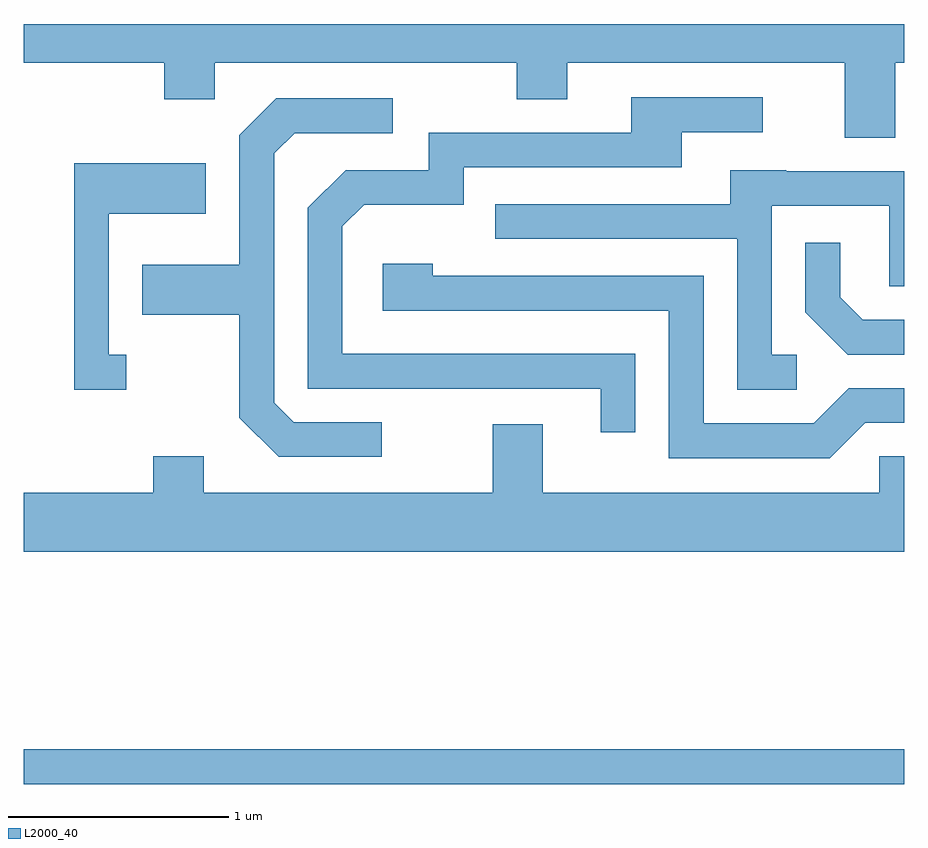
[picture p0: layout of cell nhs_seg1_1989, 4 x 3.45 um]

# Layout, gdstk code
import gdstk
lib = gdstk.Library(unit=1e-6, precision=1e-09)
def R(c, l, rs):  # rectangles x0, y0, x1, y1
    for r in rs: c.add(gdstk.rectangle(r[:2], r[2:], *l))
def P(c, l, *ps):  # polygons
    for p in ps: c.add(gdstk.Polygon(p, *l))
L2000_40 = (2000, 40)

nhs_seg1_1989 = lib.new_cell('nhs_seg1_1989')
R(nhs_seg1_1989, L2000_40, [(245.611,936.261,249.611,936.419)])
P(nhs_seg1_1989, L2000_40, [(249.569,939.536),(249.611,939.536),(249.611,939.712),(245.611,939.712),(245.611,939.536),(246.251,939.536),(246.251,939.371),(246.479,939.371),(246.479,939.536),(247.851,939.536),(247.851,939.371),(248.079,939.371),(248.079,939.536),(249.341,939.536),(249.341,939.196),(249.569,939.196)],
  [(248.389,938.214),(247.059,938.214),(247.059,938.794),(247.157,938.891),(247.609,938.891),(247.609,939.061),(248.599,939.061),(248.599,939.221),(248.968,939.221),(248.968,939.379),(248.371,939.379),(248.371,939.219),(247.451,939.219),(247.451,939.049),(247.074,939.049),(246.901,938.877),(246.901,938.056),(248.231,938.056),(248.231,937.858),(248.389,937.858)],
  [(247.238,937.904),(246.837,937.904),(246.749,937.992),(246.749,939.124),(246.842,939.216),(247.288,939.216),(247.288,939.374),(246.759,939.374),(246.591,939.207),(246.591,938.619),(246.151,938.619),(246.151,938.391),(246.591,938.391),(246.591,937.924),(246.769,937.746),(247.238,937.746)],
  [(246.078,938.209),(245.999,938.209),(245.999,938.851),(246.439,938.851),(246.439,939.079),(245.841,939.079),(245.841,938.051),(246.078,938.051)],
  [(249.123,938.209),(249.009,938.209),(249.009,938.886),(249.541,938.886),(249.541,938.521),(249.611,938.521),(249.611,939.044),(249.075,939.044),(249.075,939.049),(248.821,939.049),(248.821,938.894),(247.753,938.894),(247.753,938.736),(248.851,938.736),(248.851,938.051),(249.123,938.051)],
  [(249.611,938.369),(249.422,938.369),(249.319,938.472),(249.319,938.718),(249.161,938.718),(249.161,938.404),(249.354,938.211),(249.611,938.211)],
  [(249.432,937.901),(249.611,937.901),(249.611,938.059),(249.359,938.059),(249.199,937.899),(248.699,937.899),(248.699,938.569),(247.469,938.569),(247.469,938.624),(247.241,938.624),(247.241,938.411),(248.541,938.411),(248.541,937.741),(249.272,937.741)],
  [(249.611,937.749),(249.496,937.749),(249.496,937.584),(247.969,937.584),(247.969,937.894),(247.741,937.894),(247.741,937.584),(246.429,937.584),(246.429,937.749),(246.201,937.749),(246.201,937.584),(245.611,937.584),(245.611,937.316),(249.611,937.316)])

lib.write_gds('nhs_seg1_1989.gds')
